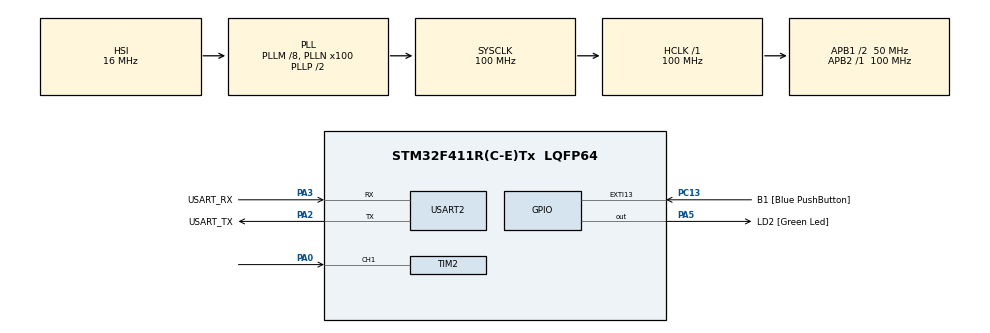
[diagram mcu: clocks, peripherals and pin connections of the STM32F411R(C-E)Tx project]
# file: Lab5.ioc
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Dma.Request0=TIM2_CH1
Dma.TIM2_CH1.0.Direction=DMA_PERIPH_TO_MEMORY
Dma.TIM2_CH1.0.FIFOMode=DMA_FIFOMODE_DISABLE
Dma.TIM2_CH1.0.Instance=DMA1_Stream5
Dma.TIM2_CH1.0.MemDataAlignment=DMA_MDATAALIGN_WORD
Dma.TIM2_CH1.0.MemInc=DMA_MINC_ENABLE
Dma.TIM2_CH1.0.Mode=DMA_CIRCULAR
Dma.TIM2_CH1.0.PeriphDataAlignment=DMA_PDATAALIGN_WORD
Dma.TIM2_CH1.0.PeriphInc=DMA_PINC_DISABLE
Dma.TIM2_CH1.0.Priority=DMA_PRIORITY_LOW
Mcu.Family=STM32F4
Mcu.Name=STM32F411R(C-E)Tx
Mcu.Package=LQFP64
NVIC.DMA1_Stream5_IRQn=true\:0\:0\:false\:false\:true\:false\:true
NVIC.PriorityGroup=NVIC_PRIORITYGROUP_0
NVIC.TIM2_IRQn=true\:0\:0\:false\:false\:true\:true\:true
NVIC.TIM5_IRQn=true\:0\:0\:false\:false\:true\:true\:true
PA0-WKUP.Signal=S_TIM2_CH1_ETR
PA13.GPIO_Label=TMS
PA13.Mode=Serial_Wire
PA13.Signal=SYS_JTMS-SWDIO
PA14.GPIO_Label=TCK
PA14.Mode=Serial_Wire
PA14.Signal=SYS_JTCK-SWCLK
PA2.GPIO_Label=USART_TX
PA2.Mode=Asynchronous
PA2.Signal=USART2_TX
PA3.GPIO_Label=USART_RX
PA3.Mode=Asynchronous
PA3.Signal=USART2_RX
PA5.GPIO_Label=LD2 [Green Led]
PA5.Signal=GPIO_Output
PB3.GPIO_Label=SWO
PB3.Signal=SYS_JTDO-SWO
PC13-ANTI_TAMP.GPIO_Label=B1 [Blue PushButton]
PC13-ANTI_TAMP.GPIO_ModeDefaultEXTI=GPIO_MODE_IT_FALLING
PC13-ANTI_TAMP.Signal=GPXTI13
PC14-OSC32_IN.Mode=LSE-External-Oscillator
PC14-OSC32_IN.Signal=RCC_OSC32_IN
PC15-OSC32_OUT.Mode=LSE-External-Oscillator
PC15-OSC32_OUT.Signal=RCC_OSC32_OUT
PH0\ -\ OSC_IN.Mode=HSE-External-Clock-Source
PH0\ -\ OSC_IN.Signal=RCC_OSC_IN
PH1\ -\ OSC_OUT.Mode=HSE-External-Clock-Source
PH1\ -\ OSC_OUT.Signal=RCC_OSC_OUT
ProjectManager.HeapSize=0x200
ProjectManager.StackSize=0x400
ProjectManager.TargetToolchain=STM32CubeIDE
RCC.48MHZClocksFreq_Value=50000000
RCC.AHBFreq_Value=100000000
RCC.APB1CLKDivider=RCC_HCLK_DIV2
RCC.APB1Freq_Value=50000000
RCC.APB1TimFreq_Value=100000000
RCC.APB2Freq_Value=100000000
RCC.APB2TimFreq_Value=100000000
RCC.CortexFreq_Value=100000000
RCC.FLatency-AdvancedSettings=FLASH_LATENCY_3
RCC.HCLKFreq_Value=100000000
RCC.HSE_VALUE=8000000
RCC.HSI_VALUE=16000000
RCC.PLLM=8
RCC.PLLN=100
RCC.SYSCLKFreq_VALUE=100000000
RCC.SYSCLKSource=RCC_SYSCLKSOURCE_PLLCLK
RCC.VCOOutputFreq_Value=200000000
SH.S_TIM2_CH1_ETR.0=TIM2_CH1,Input_Capture1_from_TI1
TIM2.Channel-Input_Capture1_from_TI1=TIM_CHANNEL_1
TIM2.ICFilter_CH1=2
TIM2.Prescaler=99
TIM5.Prescaler=99
USART2.VirtualMode=VM_ASYNC
VP_TIM2_VS_ClockSourceINT.Mode=Internal
VP_TIM5_VS_ClockSourceINT.Mode=Internal
board=NUCLEO-F411RE

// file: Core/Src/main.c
/* USER CODE BEGIN Header */
/**
  ******************************************************************************
  * @file           : main.c
  * @brief          : Main program body
  ******************************************************************************
  * @attention
  *
  * <h2><center>&copy; Copyright (c) 2021 STMicroelectronics.
  * All rights reserved.</center></h2>
  *
  * This software component is licensed by ST under BSD 3-Clause license,
  * the "License"; You may not use this file except in compliance with the
  * License. You may obtain a copy of the License at:
  *                        opensource.org/licenses/BSD-3-Clause
  *
  ******************************************************************************
  */
/* USER CODE END Header */
#include "main.h"

/* USER CODE BEGIN PD */
#define CAPTURENUM 32 //เ�?็บข้อมูล 32 ช่องหรือเท่าไหร่�?็ได้
/* USER CODE END PD */

TIM_HandleTypeDef htim2;
TIM_HandleTypeDef htim5;
DMA_HandleTypeDef hdma_tim2_ch1;

UART_HandleTypeDef huart2;

/* USER CODE BEGIN PV */
float RPM = 0;

//12 P/R, gear reduction 1:64
//DMA Buffer
uint32_t capturedata[CAPTURENUM] = {0}; //word capturedata
//diff time of capture data
int64_t DiffTime[CAPTURENUM-1] = {0};

//mean difftime
float MeanTime = 0;
//for microsecond measurement
uint64_t _micros = 0;

/* USER CODE END PV */

void SystemClock_Config(void);
static void MX_GPIO_Init(void);
static void MX_DMA_Init(void);
static void MX_USART2_UART_Init(void);
static void MX_TIM2_Init(void);
static void MX_TIM5_Init(void);
/* USER CODE BEGIN PFP */
void encoderSpeedReaderCycle();
uint64_t micros();

/* USER CODE END PFP */

int main(void)
{

  /* MCU Configuration--------------------------------------------------------*/

  /* Reset of all peripherals, Initializes the Flash interface and the Systick. */
  HAL_Init();

  /* Configure the system clock */
  SystemClock_Config();

  /* Initialize all configured peripherals */
  MX_GPIO_Init();
  MX_DMA_Init();
  MX_USART2_UART_Init();
  MX_TIM2_Init();
  MX_TIM5_Init();
  /* USER CODE BEGIN 2 */
  uint64_t timestamp = 0;
  //start Microsec timer
  HAL_TIM_Base_Start_IT(&htim5);//timer ทำงาน //IT = interrupt

    HAL_TIM_Base_Start(&htim2);//open timer
    //start input capture in DMA
    HAL_TIM_IC_Start_DMA(&htim2, TIM_CHANNEL_1, capturedata, CAPTURENUM);

  /* USER CODE END 2 */

  /* Infinite loop */
  /* USER CODE BEGIN WHILE */
  while (1)
  {
	  encoderSpeedReaderCycle();

	  if (micros()-timestamp > 100000)
	  {
		  timestamp = micros();
		  HAL_GPIO_TogglePin(LD2_GPIO_Port,LD2_Pin);
	  }
    /* USER CODE END WHILE */

  }
}

void SystemClock_Config(void)
{
  RCC_OscInitTypeDef RCC_OscInitStruct = {0};
  RCC_ClkInitTypeDef RCC_ClkInitStruct = {0};

  /** Configure the main internal regulator output voltage
  */
  __HAL_RCC_PWR_CLK_ENABLE();
  __HAL_PWR_VOLTAGESCALING_CONFIG(PWR_REGULATOR_VOLTAGE_SCALE1);
  /** Initializes the RCC Oscillators according to the specified parameters
  * in the RCC_OscInitTypeDef structure.
  */
  RCC_OscInitStruct.OscillatorType = RCC_OSCILLATORTYPE_HSI;
  RCC_OscInitStruct.HSIState = RCC_HSI_ON;
  RCC_OscInitStruct.HSICalibrationValue = RCC_HSICALIBRATION_DEFAULT;
  RCC_OscInitStruct.PLL.PLLState = RCC_PLL_ON;
  RCC_OscInitStruct.PLL.PLLSource = RCC_PLLSOURCE_HSI;
  RCC_OscInitStruct.PLL.PLLM = 8;
  RCC_OscInitStruct.PLL.PLLN = 100;
  RCC_OscInitStruct.PLL.PLLP = RCC_PLLP_DIV2;
  RCC_OscInitStruct.PLL.PLLQ = 4;
  if (HAL_RCC_OscConfig(&RCC_OscInitStruct) != HAL_OK)
  {
    Error_Handler();
  }
  /** Initializes the CPU, AHB and APB buses clocks
  */
  RCC_ClkInitStruct.ClockType = RCC_CLOCKTYPE_HCLK|RCC_CLOCKTYPE_SYSCLK
                              |RCC_CLOCKTYPE_PCLK1|RCC_CLOCKTYPE_PCLK2;
  RCC_ClkInitStruct.SYSCLKSource = RCC_SYSCLKSOURCE_PLLCLK;
  RCC_ClkInitStruct.AHBCLKDivider = RCC_SYSCLK_DIV1;
  RCC_ClkInitStruct.APB1CLKDivider = RCC_HCLK_DIV2;
  RCC_ClkInitStruct.APB2CLKDivider = RCC_HCLK_DIV1;

  if (HAL_RCC_ClockConfig(&RCC_ClkInitStruct, FLASH_LATENCY_3) != HAL_OK)
  {
    Error_Handler();
  }
}

static void MX_TIM2_Init(void)
{

  TIM_ClockConfigTypeDef sClockSourceConfig = {0};
  TIM_MasterConfigTypeDef sMasterConfig = {0};
  TIM_IC_InitTypeDef sConfigIC = {0};

  htim2.Instance = TIM2;
  htim2.Init.Prescaler = 99;
  htim2.Init.CounterMode = TIM_COUNTERMODE_UP;
  htim2.Init.Period = 4294967295;
  htim2.Init.ClockDivision = TIM_CLOCKDIVISION_DIV1;
  htim2.Init.AutoReloadPreload = TIM_AUTORELOAD_PRELOAD_DISABLE;
  if (HAL_TIM_Base_Init(&htim2) != HAL_OK)
  {
    Error_Handler();
  }
  sClockSourceConfig.ClockSource = TIM_CLOCKSOURCE_INTERNAL;
  if (HAL_TIM_ConfigClockSource(&htim2, &sClockSourceConfig) != HAL_OK)
  {
    Error_Handler();
  }
  if (HAL_TIM_IC_Init(&htim2) != HAL_OK)
  {
    Error_Handler();
  }
  sMasterConfig.MasterOutputTrigger = TIM_TRGO_RESET;
  sMasterConfig.MasterSlaveMode = TIM_MASTERSLAVEMODE_DISABLE;
  if (HAL_TIMEx_MasterConfigSynchronization(&htim2, &sMasterConfig) != HAL_OK)
  {
    Error_Handler();
  }
  sConfigIC.ICPolarity = TIM_INPUTCHANNELPOLARITY_RISING;
  sConfigIC.ICSelection = TIM_ICSELECTION_DIRECTTI;
  sConfigIC.ICPrescaler = TIM_ICPSC_DIV1;
  sConfigIC.ICFilter = 2;
  if (HAL_TIM_IC_ConfigChannel(&htim2, &sConfigIC, TIM_CHANNEL_1) != HAL_OK)
  {
    Error_Handler();
  }

}

static void MX_TIM5_Init(void)
{

  TIM_ClockConfigTypeDef sClockSourceConfig = {0};
  TIM_MasterConfigTypeDef sMasterConfig = {0};

  htim5.Instance = TIM5;
  htim5.Init.Prescaler = 99;
  htim5.Init.CounterMode = TIM_COUNTERMODE_UP;
  htim5.Init.Period = 4294967295;
  htim5.Init.ClockDivision = TIM_CLOCKDIVISION_DIV1;
  htim5.Init.AutoReloadPreload = TIM_AUTORELOAD_PRELOAD_DISABLE;
  if (HAL_TIM_Base_Init(&htim5) != HAL_OK)
  {
    Error_Handler();
  }
  sClockSourceConfig.ClockSource = TIM_CLOCKSOURCE_INTERNAL;
  if (HAL_TIM_ConfigClockSource(&htim5, &sClockSourceConfig) != HAL_OK)
  {
    Error_Handler();
  }
  sMasterConfig.MasterOutputTrigger = TIM_TRGO_RESET;
  sMasterConfig.MasterSlaveMode = TIM_MASTERSLAVEMODE_DISABLE;
  if (HAL_TIMEx_MasterConfigSynchronization(&htim5, &sMasterConfig) != HAL_OK)
  {
    Error_Handler();
  }

}

static void MX_USART2_UART_Init(void)
{

  huart2.Instance = USART2;
  huart2.Init.BaudRate = 115200;
  huart2.Init.WordLength = UART_WORDLENGTH_8B;
  huart2.Init.StopBits = UART_STOPBITS_1;
  huart2.Init.Parity = UART_PARITY_NONE;
  huart2.Init.Mode = UART_MODE_TX_RX;
  huart2.Init.HwFlowCtl = UART_HWCONTROL_NONE;
  huart2.Init.OverSampling = UART_OVERSAMPLING_16;
  if (HAL_UART_Init(&huart2) != HAL_OK)
  {
    Error_Handler();
  }

}

static void MX_DMA_Init(void)
{

  /* DMA controller clock enable */
  __HAL_RCC_DMA1_CLK_ENABLE();

  /* DMA interrupt init */
  /* DMA1_Stream5_IRQn interrupt configuration */
  HAL_NVIC_SetPriority(DMA1_Stream5_IRQn, 0, 0);
  HAL_NVIC_EnableIRQ(DMA1_Stream5_IRQn);

}

static void MX_GPIO_Init(void)
{
  GPIO_InitTypeDef GPIO_InitStruct = {0};

  /* GPIO Ports Clock Enable */
  __HAL_RCC_GPIOC_CLK_ENABLE();
  __HAL_RCC_GPIOH_CLK_ENABLE();
  __HAL_RCC_GPIOA_CLK_ENABLE();
  __HAL_RCC_GPIOB_CLK_ENABLE();

  /*Configure GPIO pin Output Level */
  HAL_GPIO_WritePin(LD2_GPIO_Port, LD2_Pin, GPIO_PIN_RESET);

  /*Configure GPIO pin : B1_Pin */
  GPIO_InitStruct.Pin = B1_Pin;
  GPIO_InitStruct.Mode = GPIO_MODE_IT_FALLING;
  GPIO_InitStruct.Pull = GPIO_NOPULL;
  HAL_GPIO_Init(B1_GPIO_Port, &GPIO_InitStruct);

  /*Configure GPIO pin : LD2_Pin */
  GPIO_InitStruct.Pin = LD2_Pin;
  GPIO_InitStruct.Mode = GPIO_MODE_OUTPUT_PP;
  GPIO_InitStruct.Pull = GPIO_NOPULL;
  GPIO_InitStruct.Speed = GPIO_SPEED_FREQ_LOW;
  HAL_GPIO_Init(LD2_GPIO_Port, &GPIO_InitStruct);

}

/* USER CODE BEGIN 4 */
void encoderSpeedReaderCycle()
{
	//get DMA Position form number of data
	uint32_t CapPos =CAPTURENUM -  __HAL_DMA_GET_COUNTER(htim2.hdma[TIM_DMA_ID_CC1]); //ช่องปัจจุบันที่ใส่ได้ = 32 ช่อง - เหลือช่องที่ใส่ไปได้�?ี่ช่อง \\ช่องที่จะใส่ข้อมูลถัดไป
	//__HAL_DMA_GET_COUNTER = ช่อง input capture ในที่นี้คือ htim2
	//cappos เท่า�?ับ 8 หมายถึงเ�?็บค่าในช่อง 0 - 7
	uint32_t sum = 0 ;

	//calculate diff from all buffer
	for(register int i=0 ;i < CAPTURENUM-1;i++)
	{
		DiffTime[i]  = capturedata[(CapPos+1+i)%CAPTURENUM]-capturedata[(CapPos+i)%CAPTURENUM]; //ช่องปัจจุบัน - ช่องอดีต
		//วนครบหนึ่งรอบถึงจะขึ้นเวลา diff ป�?ติได้
		//ถ้าครบ 1 รอบ ค่าจะคงที่
		//time never go back, but timer can over flow , conpensate that
		if (DiffTime[i] <0)
		{
			DiffTime[i]+=4294967295;
		} //ข้อเสียคือ ถ้าช้ามา�? ๆ จะเ�?ิด�?าร overflow ไปหลายรอบทำให้เวลาไม่ตรง
		//Sum all 31 Diff
		sum += DiffTime[i];
	}

	//mean all 15 Diff
	MeanTime =sum / (float)(CAPTURENUM-1);
	RPM = (60*1000000)/(float)(12*MeanTime*64);
}

uint64_t micros() //เวลาปัจจุบัน
{  //เวลาที่สะสมไว้ + ค่าปัจจุบัน
	return _micros + htim5.Instance->CNT; //counter of timer 5
	//register ภายใน timer = instance //CNT = counter
}

//interrupt overflow timer
void HAL_TIM_PeriodElapsedCallback(TIM_HandleTypeDef *htim)
{
	if (htim == &htim5)
	{
		_micros +=4294967295;
	}
}

/* USER CODE END 4 */

void Error_Handler(void)
{
  __disable_irq();
  while (1)
  {
  }
}

/************************ (C) COPYRIGHT STMicroelectronics *****END OF FILE****/
